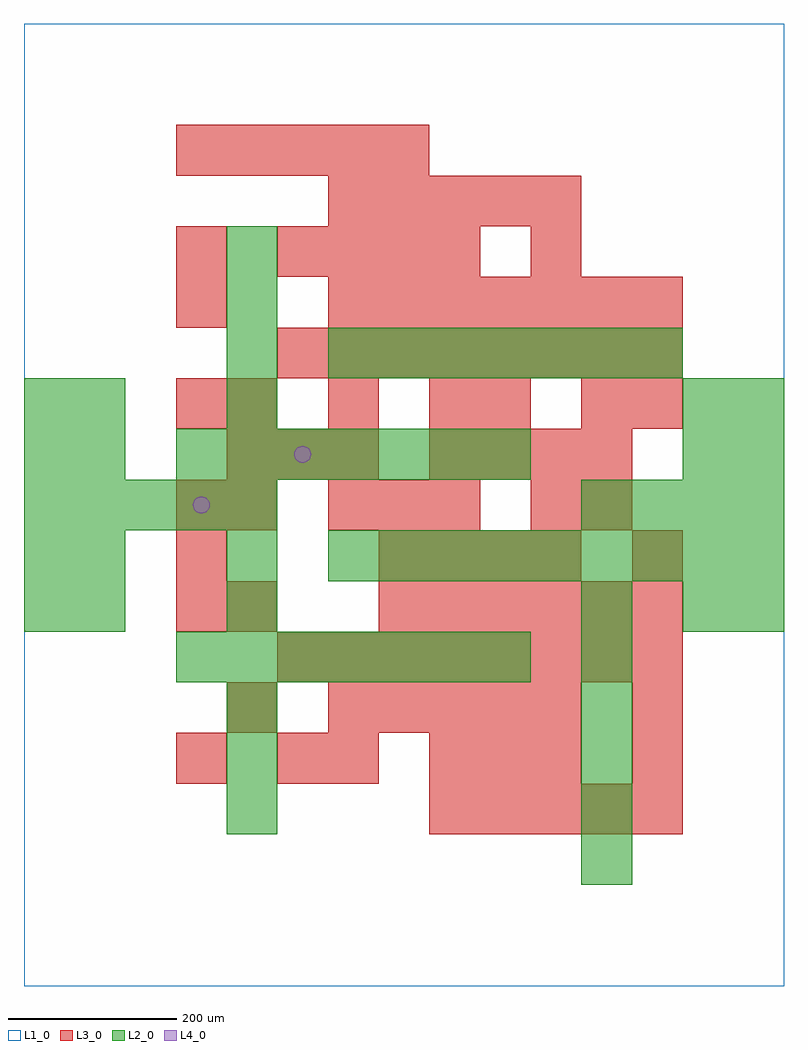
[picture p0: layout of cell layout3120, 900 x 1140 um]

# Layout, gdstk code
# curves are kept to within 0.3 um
import gdstk
lib = gdstk.Library(unit=1e-6, precision=1e-09)
def R(c, l, rs):  # rectangles x0, y0, x1, y1
    for r in rs: c.add(gdstk.rectangle(r[:2], r[2:], *l))
def A(c, l, x, y, w, h, nx, ny, dx, dy):  # array of equal rectangles
    R(c, l, [(x+i*dx, y+j*dy, x+i*dx+w, y+j*dy+h) for i in range(nx) for j in range(ny)])
def P(c, l, *ps):  # polygons
    for p in ps: c.add(gdstk.Polygon(p, *l))
L1_0 = (1, 0)
L2_0 = (2, 0)
L3_0 = (3, 0)
L4_0 = (4, 0)

layout3120 = lib.new_cell('layout3120')
R(layout3120, L1_0, [(0,0,900,1140)])
A(layout3120, L2_0, 660, 120, 60, 60, 1, 6, 0, 60)
A(layout3120, L2_0, 240, 180, 60, 60, 1, 3, 0, 60)
A(layout3120, L2_0, 180, 360, 60, 60, 7, 2, 60, 240)
A(layout3120, L2_0, 360, 480, 60, 60, 9, 1, 60, 0)
A(layout3120, L2_0, 0, 540, 60, 60, 5, 1, 60, 0)
A(layout3120, L2_0, 660, 540, 60, 60, 4, 1, 60, 0)
A(layout3120, L2_0, 240, 660, 60, 60, 1, 4, 0, 60)
A(layout3120, L2_0, 360, 720, 60, 60, 7, 1, 60, 0)
R(layout3120, L2_0, [(0,420,60,480), (60,420,120,480), (240,420,300,480), (780,420,840,480), (840,420,900,480), (0,480,60,540), (60,480,120,540), (240,480,300,540), (0,600,60,660), (60,600,120,660), (780,600,840,660), (840,600,900,660), (0,660,60,720), (60,660,120,720), (780,660,840,720), (840,660,900,720)])
A(layout3120, L3_0, 480, 180, 60, 60, 5, 1, 60, 0)
A(layout3120, L3_0, 480, 240, 60, 60, 3, 1, 60, 0)
A(layout3120, L3_0, 240, 300, 60, 60, 1, 3, 0, 120)
A(layout3120, L3_0, 360, 300, 60, 60, 5, 2, 60, 600)
A(layout3120, L3_0, 720, 300, 60, 60, 1, 3, 0, 180)
A(layout3120, L3_0, 300, 360, 60, 60, 8, 2, 60, 360)
A(layout3120, L3_0, 180, 420, 60, 60, 1, 3, 0, 60)
A(layout3120, L3_0, 420, 420, 60, 60, 6, 1, 60, 0)
A(layout3120, L3_0, 420, 480, 60, 60, 4, 1, 60, 0)
A(layout3120, L3_0, 360, 540, 60, 60, 3, 1, 60, 0)
A(layout3120, L3_0, 240, 600, 60, 60, 3, 1, 60, 0)
A(layout3120, L3_0, 480, 600, 60, 60, 4, 1, 60, 0)
A(layout3120, L3_0, 240, 660, 60, 60, 3, 1, 120, 0)
A(layout3120, L3_0, 360, 780, 60, 60, 7, 1, 60, 0)
A(layout3120, L3_0, 300, 840, 60, 60, 4, 1, 60, 0)
A(layout3120, L3_0, 180, 960, 60, 60, 5, 1, 60, 0)
R(layout3120, L3_0, [(180,240,240,300), (300,240,360,300), (360,240,420,300), (720,240,780,300), (600,540,660,600), (660,540,720,600), (180,660,240,720), (540,660,600,720), (660,660,720,720), (180,780,240,840), (180,840,240,900), (600,840,660,900)])
P(layout3120, L4_0, [(220,570),(219.239,573.827),(217.071,577.071),(213.827,579.239),(210,580),(206.173,579.239),(202.929,577.071),(200.761,573.827),(200,570),(200.761,566.173),(202.929,562.929),(206.173,560.761),(210,560),(213.827,560.761),(217.071,562.929),(219.239,566.173)],
  [(340,630),(339.239,633.827),(337.071,637.071),(333.827,639.239),(330,640),(326.173,639.239),(322.929,637.071),(320.761,633.827),(320,630),(320.761,626.173),(322.929,622.929),(326.173,620.761),(330,620),(333.827,620.761),(337.071,622.929),(339.239,626.173)])

lib.write_gds('layout3120.gds')
